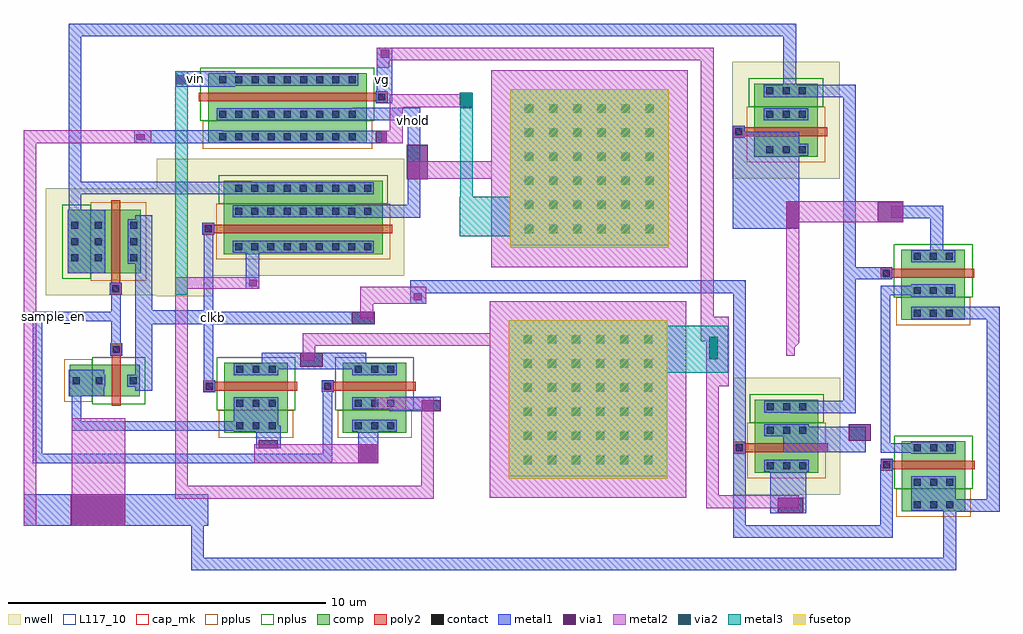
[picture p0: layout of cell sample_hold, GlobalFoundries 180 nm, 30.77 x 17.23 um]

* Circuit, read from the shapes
.subckt sample_hold clkb sample_en vg vhold vin
XM1 clkb sample_en vhold vhold nfet_03v3 w=1u l=0.28u
XM2 vin vg vhold vhold nfet_03v3 w=5u l=0.28u
XM3 n1 clkb vhold vhold nfet_03v3 w=2u l=0.28u
XM4 n1 sample_en vhold vhold nfet_03v3 w=2u l=0.28u
XM5 n2 vhold vhold vhold nfet_03v3 w=2u l=0.28u
XM6 vhold clkb vhold vhold nfet_03v3 w=2u l=0.28u
XM7 clkb sample_en vhold vhold pfet_03v3 w=2u l=0.28u
XM8 vhold clkb vhold vhold pfet_03v3 w=5u l=0.28u
XM9 vhold n2 n2 vhold pfet_03v3 w=2u l=0.28u
XM10 vhold clkb vg vhold pfet_03v3 w=2u l=0.28u
XC11 vg n1 cap_mim_2f0fF c_width=5u c_length=5u
XC12 vhold vhold cap_mim_2f0fF c_width=5u c_length=5u
.ends

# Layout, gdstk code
from math import pi, radians
import gdstk
lib = gdstk.Library(unit=1e-6, precision=5e-09)
def R(c, l, rs):  # rectangles x0, y0, x1, y1
    for r in rs: c.add(gdstk.rectangle(r[:2], r[2:], *l))
def A(c, l, x, y, w, h, nx, ny, dx, dy):  # array of equal rectangles
    R(c, l, [(x+i*dx, y+j*dy, x+i*dx+w, y+j*dy+h) for i in range(nx) for j in range(ny)])
def P(c, l, *ps):  # polygons
    for p in ps: c.add(gdstk.Polygon(p, *l))
nwell = (21, 0)
comp = (22, 0)
poly2 = (30, 0)
pplus = (31, 0)
nplus = (32, 0)
contact = (33, 0)
metal1 = (34, 0)
via1 = (35, 0)
metal2 = (36, 0)
via2 = (38, 0)
metal3 = (42, 0)
fusetop = (75, 0)
cap_mk = (117, 5)
L117_10 = (117, 10)

pfet = lib.new_cell('pfet')
R(pfet, nwell, [(-1.15,-0.69,2.54,2.69)])
R(pfet, comp, [(-0.46,0,0,2), (0,0,0.66,2), (0.66,0,1.12,2), (1.12,0,1.85,2)])
R(pfet, poly2, [(0.14,-0.68,0.52,-0.3), (0.19,-0.3,0.47,2.3)])
R(pfet, pplus, [(-0.63,-0.24,1.12,2.24)])
R(pfet, nplus, [(1.12,-0.17,2.02,2.17)])
A(pfet, contact, -0.34, 0.38, 0.22, 0.22, 1, 3, 0, 0.51)
A(pfet, contact, 0.78, 0.38, 0.22, 0.22, 1, 3, 0, 0.51)
A(pfet, contact, 1.51, 0.38, 0.22, 0.22, 1, 3, 0, 0.51)
R(pfet, contact, [(0.22,-0.6,0.44,-0.38)])
R(pfet, metal1, [(0.14,-0.68,0.52,-0.3), (-0.42,0.3,-0.04,1.7), (0.7,0.3,1.08,1.7), (1.43,0.3,1.81,1.7)])

nfet = lib.new_cell('nfet')
R(nfet, comp, [(-0.42,0,0,1), (0,0,0.66,1), (0.66,0,1.08,1), (1.08,0,1.79,1)])
R(nfet, poly2, [(0.19,-0.3,0.47,1.3), (0.15,1.3,0.51,1.66)])
R(nfet, pplus, [(1.08,-0.17,1.96,1.17)])
R(nfet, nplus, [(-0.59,-0.24,1.08,1.24)])
R(nfet, contact, [(-0.32,0.39,-0.1,0.61), (0.76,0.39,0.98,0.61), (1.47,0.39,1.69,0.61), (0.22,1.37,0.44,1.59)])
R(nfet, metal1, [(-0.4,0.31,-0.02,0.69), (0.68,0.31,1.06,0.69), (1.39,0.31,1.77,0.69), (0.14,1.29,0.52,1.67)])

inv_sh = lib.new_cell('inv_sh')
R(inv_sh, metal1, [(0.29,-1.01,1.42,-0.18), (-1.22,-0.84,-0.68,4.7), (0.26,2.86,1.45,4.86)])
inv_sh.add(gdstk.FlexPath([(-0.07,2.37),(-0.07,0.43),(-0.07,0.43)], 0.3, ends="flush", simple_path=True, layer=34, datatype=0))  # metal1
inv_sh.add(gdstk.Reference(pfet, (-0.4,2.86)))
inv_sh.add(gdstk.Reference(nfet, (-0.41,-1.02)))
inv_sh.add(gdstk.Label('vdd', (0.855,3.64), layer=34, texttype=10))
inv_sh.add(gdstk.Label('vss', (0.86,-0.56), layer=34, texttype=10))
inv_sh.add(gdstk.Label('vo', (-0.99,1.28), layer=34, texttype=10))
inv_sh.add(gdstk.Label('vi', (-0.07,1.39), layer=34, texttype=10))

pfet_2 = lib.new_cell('pfet$2')
R(pfet_2, nwell, [(-1.15,-0.69,2.54,5.69)])
R(pfet_2, comp, [(-0.46,0,0,5), (0,0,0.66,5), (0.66,0,1.12,5), (1.12,0,1.85,5)])
R(pfet_2, poly2, [(0.19,-0.3,0.47,5.3), (0.14,5.3,0.52,5.68)])
R(pfet_2, pplus, [(-0.63,-0.24,1.12,5.24)])
R(pfet_2, nplus, [(1.12,-0.17,2.02,5.17)])
A(pfet_2, contact, -0.34, 0.35, 0.22, 0.22, 1, 9, 0, 0.51)
A(pfet_2, contact, 0.78, 0.35, 0.22, 0.22, 1, 9, 0, 0.51)
A(pfet_2, contact, 1.51, 0.35, 0.22, 0.22, 1, 9, 0, 0.51)
R(pfet_2, contact, [(0.22,5.38,0.44,5.6)])
R(pfet_2, metal1, [(-0.42,0.27,-0.04,4.73), (0.7,0.27,1.08,4.73), (1.43,0.27,1.81,4.73), (0.14,5.3,0.52,5.68)])

nfet_3 = lib.new_cell('nfet$3')
R(nfet_3, comp, [(-0.42,0,0,2), (0,0,0.66,2), (0.66,0,1.08,2), (1.08,0,1.79,2)])
R(nfet_3, poly2, [(0.15,-0.66,0.51,-0.3), (0.19,-0.3,0.47,2.3)])
R(nfet_3, pplus, [(1.08,-0.17,1.96,2.17)])
R(nfet_3, nplus, [(-0.59,-0.24,1.08,2.24)])
A(nfet_3, contact, -0.32, 0.38, 0.22, 0.22, 1, 3, 0, 0.51)
A(nfet_3, contact, 0.76, 0.38, 0.22, 0.22, 1, 3, 0, 0.51)
A(nfet_3, contact, 1.47, 0.38, 0.22, 0.22, 1, 3, 0, 0.51)
R(nfet_3, contact, [(0.22,-0.59,0.44,-0.37)])
R(nfet_3, metal1, [(0.14,-0.67,0.52,-0.29), (-0.4,0.3,-0.02,1.7), (0.68,0.3,1.06,1.7), (1.39,0.3,1.77,1.7)])

nfet_5 = lib.new_cell('nfet$5')
R(nfet_5, comp, [(-0.42,0,0,5), (0,0,0.66,5), (0.66,0,1.08,5), (1.08,0,1.79,5)])
R(nfet_5, poly2, [(0.15,-0.66,0.51,-0.3), (0.19,-0.3,0.47,5.3)])
R(nfet_5, pplus, [(1.08,-0.17,1.96,5.17)])
R(nfet_5, nplus, [(-0.59,-0.24,1.08,5.24)])
A(nfet_5, contact, -0.32, 0.35, 0.22, 0.22, 1, 9, 0, 0.51)
A(nfet_5, contact, 0.76, 0.35, 0.22, 0.22, 1, 9, 0, 0.51)
A(nfet_5, contact, 1.47, 0.35, 0.22, 0.22, 1, 9, 0, 0.51)
R(nfet_5, contact, [(0.22,-0.59,0.44,-0.37)])
R(nfet_5, metal1, [(0.14,-0.67,0.52,-0.29), (-0.4,0.27,-0.02,4.73), (0.68,0.27,1.06,4.73), (1.39,0.27,1.77,4.73)])

cap_mim = lib.new_cell('cap_mim')
R(cap_mim, metal2, [(-0.6,-0.6,5.6,5.6)])
A(cap_mim, via2, 0.47, 0.47, 0.26, 0.26, 6, 6, 0.76, 0.76)
R(cap_mim, metal3, [(0,0,5,5)])
R(cap_mim, fusetop, [(0,0,5,5)])
R(cap_mim, cap_mk, [(-0.6,-0.6,5.6,5.6)])
R(cap_mim, L117_10, [(0,0,5,0.1)])

cap_mim_1 = lib.new_cell('cap_mim$1')
R(cap_mim_1, metal2, [(-0.6,-0.6,5.6,5.6)])
A(cap_mim_1, via2, 0.47, 0.47, 0.26, 0.26, 6, 6, 0.76, 0.76)
R(cap_mim_1, metal3, [(0,0,5,5)])
R(cap_mim_1, fusetop, [(0,0,5,5)])
R(cap_mim_1, cap_mk, [(-0.6,-0.6,5.6,5.6)])
R(cap_mim_1, L117_10, [(0,0,5,0.1)])

pfet_3 = lib.new_cell('pfet$3')

pfet_5 = lib.new_cell('pfet$5')
R(pfet_5, nwell, [(-1.15,-0.69,2.54,2.69)])
R(pfet_5, comp, [(-0.46,0,0,2), (0,0,0.66,2), (0.66,0,1.12,2), (1.12,0,1.85,2)])
R(pfet_5, poly2, [(0.19,-0.3,0.47,2.3), (0.14,2.3,0.52,2.68)])
R(pfet_5, pplus, [(-0.63,-0.24,1.12,2.24)])
R(pfet_5, nplus, [(1.12,-0.17,2.02,2.17)])
A(pfet_5, contact, -0.34, 0.38, 0.22, 0.22, 1, 3, 0, 0.51)
A(pfet_5, contact, 0.78, 0.38, 0.22, 0.22, 1, 3, 0, 0.51)
A(pfet_5, contact, 1.51, 0.38, 0.22, 0.22, 1, 3, 0, 0.51)
R(pfet_5, contact, [(0.22,2.38,0.44,2.6)])
R(pfet_5, metal1, [(-0.42,0.3,-0.04,1.7), (0.7,0.3,1.08,1.7), (1.43,0.3,1.81,1.7), (0.14,2.3,0.52,2.68)])

sample_hold = lib.new_cell('sample_hold')
R(sample_hold, nwell, [(-24.39,11.62,-22.61,15.95)])
R(sample_hold, metal1, [(-28.59,4.38,-22.77,5.38), (-5.04,4.77,-3.91,6.39), (-0.6,4.86,0.8,5.95), (-18.03,6.36,-17.4,7.53), (-4.64,6.7,-2.04,7.51), (-21.26,6.83,-20.48,7.53), (-21.96,7.53,-20.56,8.24), (-17.05,7.99,-15.44,8.45), (-21.08,9.31,-17.78,9.83), (-25.07,10.73,-22.61,11.17), (-16.4,11.39,-15.89,12.12), (-21.58,11.85,-21.15,13.37), (-2.75,12.15,-1.2,12.53), (-6.23,13.75,-4.14,16.8), (-18.63,16.45,-17.14,16.84), (-17.46,17.71,-16.96,19.46), (-23.81,18.23,-21.92,18.71)])
P(sample_hold, metal1, [(-21.92,18.23),(-21.92,18.23),(-21.92,18.23),(-21.92,18.23)],
  [(-21.15,11.85),(-21.15,11.85),(-21.15,11.85),(-21.15,11.85)])
R(sample_hold, via1, [(-27.1,4.38,-25.39,5.38), (-4.81,4.77,-4.01,5.27), (-18.03,6.36,-17.4,6.945), (-21.18,6.83,-20.58,7.08), (-2.57,7.07,-1.88,7.58), (-16.03,7.99,-15.44,8.34), (-19.87,9.4,-19.16,9.83), (-18.24,10.73,-17.52,11.13), (-16.29,11.5,-16.03,11.72), (-21.48,11.93,-21.23,12.14), (-4.54,13.76,-4.14,14.62), (-1.66,13.95,-0.85,14.59), (-16.51,15.3,-15.84,16.4), (-17.48,16.45,-17.14,16.83), (-25.03,16.56,-24.77,16.72), (-23.77,18.31,-23.48,18.58), (-17.33,19.13,-17.06,19.39)])
R(sample_hold, metal2, [(-27.07,4.38,-25.39,7.78), (-21.31,6.36,-17.4,6.95), (-7.07,8.78,-6.36,10.98), (-17.97,11.39,-15.89,11.92), (-23.81,11.85,-21.15,12.21), (-4.54,13.95,-0.85,14.62), (-16.48,15.32,-12.02,15.87), (-17.46,18.82,-17.06,19.19)])
R(sample_hold, via2, [(-6.97,9.64,-6.71,10.34), (-14.82,17.55,-14.42,17.98)])
R(sample_hold, metal3, [(-10.02,9.21,-6.37,10.69), (-14.84,13.51,-11.27,14.75)])
sample_hold.add(gdstk.FlexPath([(-18.23,17.36),(-16.28,17.36),(-16.28,14.3),(-18.13,14.3),(-18.13,14.3)], 0.4, ends="flush", simple_path=True, layer=34, datatype=0))  # metal1
sample_hold.add(gdstk.FlexPath([(-26.97,13.85),(-26.97,15.03),(-21.41,15.03),(-21.41,15.03)], 0.4, ends="flush", simple_path=True, layer=34, datatype=0))  # metal1
sample_hold.add(gdstk.FlexPath([(-16.4,11.92),(-6.02,11.92),(-6.02,6.84)], 0.4, ends="flush", simple_path=True, layer=34, datatype=0))  # metal1
sample_hold.add(gdstk.FlexPath([(-4.43,17.94),(-4.43,20.01),(-26.97,20.01),(-26.97,13.96),(-26.97,13.96)], 0.4, ends="flush", simple_path=True, layer=34, datatype=0))  # metal1
sample_hold.add(gdstk.FlexPath([(-4.44,18.09),(-2.55,18.09),(-2.55,8.13),(-4.42,8.13),(-4.42,8.13)], 0.4, ends="flush", simple_path=True, layer=34, datatype=0))  # metal1
sample_hold.add(gdstk.FlexPath([(-17.52,10.93),(-22.91,10.93)], 0.4, ends="flush", simple_path=True, layer=34, datatype=0))  # metal1
sample_hold.add(gdstk.FlexPath([(-1.255,14.27),(0.2,14.27),(0.2,12.88),(0.2,12.88)], 0.4, ends="flush", simple_path=True, layer=34, datatype=0))  # metal1
sample_hold.add(gdstk.FlexPath([(-0.42,11.8),(-1.42,11.8),(-1.42,6.84),(-0.3,6.84),(-0.3,6.84)], 0.3, ends="flush", simple_path=True, layer=34, datatype=0))  # metal1
sample_hold.add(gdstk.FlexPath([(0.4,5.02),(1.98,5.02),(1.98,11.09),(0.09,11.09),(0.09,11.09)], 0.4, ends="flush", simple_path=True, layer=34, datatype=0))  # metal1
sample_hold.add(gdstk.FlexPath([(-6.02,6.84),(-6.02,4.2),(-1.38,4.2),(-1.38,6.3),(-1.38,6.3)], 0.4, ends="flush", simple_path=True, layer=34, datatype=0))  # metal1
sample_hold.add(gdstk.FlexPath([(-22.31,16.65),(-25.1,16.65)], 0.4, ends="flush", simple_path=True, layer=34, datatype=0))  # metal1
sample_hold.add(gdstk.FlexPath([(0.61,5.05),(0.61,3.18),(-23.1,3.18),(-23.1,4.84),(-23.08,4.84)], 0.4, ends="flush", simple_path=True, layer=34, datatype=0))  # metal1
sample_hold.add(gdstk.FlexPath([(-22.76,13.74),(-22.76,8.78),(-22.74,8.78)], 0.3, ends="flush", simple_path=True, layer=34, datatype=0))  # metal1
sample_hold.add(gdstk.FlexPath([(-26.92,8.96),(-26.92,7.53),(-21.77,7.53),(-21.77,7.53)], 0.3, ends="flush", simple_path=True, layer=34, datatype=0))  # metal1
sample_hold.add(gdstk.FlexPath([(-25.68,10.98),(-28.15,10.98),(-28.15,6.51),(-19,6.51),(-19,8.78),(-19,8.78)], 0.3, ends="flush", simple_path=True, layer=34, datatype=0))  # metal1
sample_hold.add(gdstk.FlexPath([(-19.59,9.59),(-19.59,10.26),(-11.8,10.26),(-11.8,10.26)], 0.4, ends="flush", simple_path=True, layer=36, datatype=0))  # metal2
sample_hold.add(gdstk.FlexPath([(-6.87,9.95),(-6.87,5.14),(-4.15,5.14),(-4.15,5.14)], 0.4, ends="flush", simple_path=True, layer=36, datatype=0))  # metal2
sample_hold.add(gdstk.FlexPath([(-17.77,11.92),(-17.77,10.93)], 0.4, ends="flush", simple_path=True, layer=36, datatype=0))  # metal2
sample_hold.add(gdstk.FlexPath([(-4.34,14.62),(-4.34,9.95),(-4.28,9.95)], 0.4, ends="flush", simple_path=True, layer=36, datatype=0))  # metal2
sample_hold.add(gdstk.FlexPath([(-17.46,19.26),(-7.035,19.26),(-7.035,10.205)], 0.4, ends="flush", simple_path=True, layer=36, datatype=0))  # metal2
sample_hold.add(gdstk.FlexPath([(-17.31,16.64),(-16.84,16.64),(-16.84,17.78),(-14.62,17.78),(-14.62,17.77),(-14.62,17.77),(-14.42,17.77)], 0.4, ends="flush", simple_path=True, layer=36, datatype=0))  # metal2
sample_hold.add(gdstk.FlexPath([(-24.57,16.65),(-28.39,16.65),(-28.39,4.38),(-28.39,4.38)], 0.4, ends="flush", simple_path=True, layer=36, datatype=0))  # metal2
sample_hold.add(gdstk.FlexPath([(-23.61,11.95),(-23.61,5.44),(-15.85,5.44),(-15.85,8.24),(-17.52,8.24)], 0.4, ends="flush", simple_path=True, layer=36, datatype=0))  # metal2
sample_hold.add(gdstk.FlexPath([(-23.61,11.67),(-23.61,18.355),(-23.61,18.71)], 0.4, ends="flush", simple_path=True, layer=42, datatype=0))  # metal3
sample_hold.add(gdstk.FlexPath([(-14.62,13.83),(-14.62,17.84),(-14.83,17.84),(-14.83,17.84)], 0.4, ends="flush", simple_path=True, layer=42, datatype=0))  # metal3
sample_hold.add(gdstk.Reference(inv_sh, (-25.75,9.48), rotation=pi, x_reflection=True))
sample_hold.add(gdstk.Reference(pfet_2, (-17.27,13.41), rotation=pi/2))
sample_hold.add(gdstk.Reference(nfet_3, (-22.26,9.11), rotation=3*pi/2))
sample_hold.add(gdstk.Reference(nfet_3, (-18.52,9.11), rotation=3*pi/2))
sample_hold.add(gdstk.Reference(nfet_5, (-17.77,18.23), rotation=3*pi/2, x_reflection=True))
sample_hold.add(gdstk.Reference(cap_mim, (-13.29,5.86)))
sample_hold.add(gdstk.Reference(cap_mim_1, (-13.25,13.14)))
sample_hold.add(gdstk.Reference(pfet_3, (-3.38,9.37)))
sample_hold.add(gdstk.Reference(pfet_5, (-3.55,16.47), rotation=pi/2))
sample_hold.add(gdstk.Reference(pfet_5, (-3.53,6.51), rotation=pi/2))
sample_hold.add(gdstk.Reference(nfet_3, (-0.9,6.63), rotation=3*pi/2))
sample_hold.add(gdstk.Reference(nfet_3, (-0.91,12.67), rotation=3*pi/2))
sample_hold.add(gdstk.Label('sample_en', (-27.64,10.98), layer=34, texttype=10))
sample_hold.add(gdstk.Label('clkb', (-22.61,10.95), layer=34, texttype=10))
sample_hold.add(gdstk.Label('vin', (-23.16,18.48), layer=34, texttype=10))
sample_hold.add(gdstk.Label('vhold', (-16.28,17.17), layer=34, texttype=10))
sample_hold.add(gdstk.Label('vg', (-17.28,18.45), layer=34, texttype=10))

lib.write_gds('sample_hold.gds')
